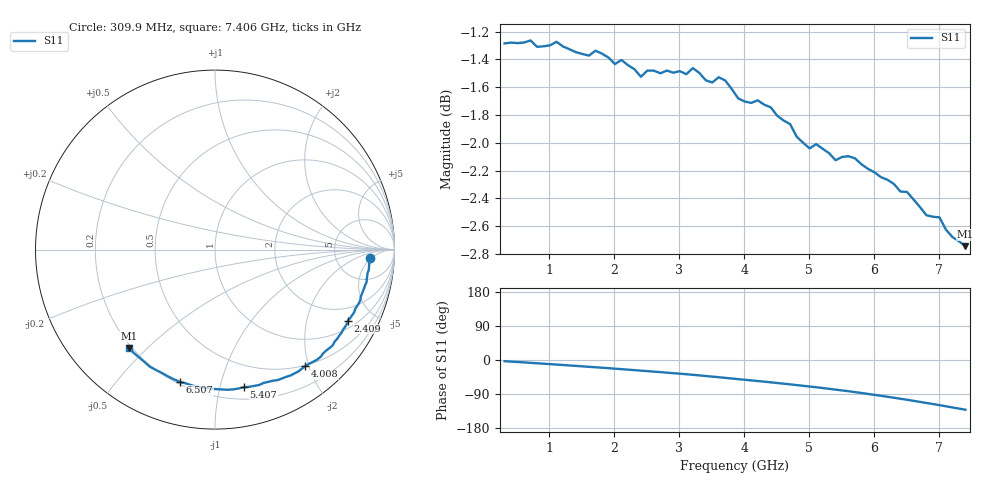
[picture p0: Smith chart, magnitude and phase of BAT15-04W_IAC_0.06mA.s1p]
! Infineon Technologies  Discrete & RF Semiconductors
! BAT15-04W-E6327
! IAC = 0.06 mA
! One-Port S-Parameters
# Hz  S  MA  R  50
!f  S11
!Hz  Mag  Ang
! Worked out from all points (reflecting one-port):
!   72 points, 309.9 MHz to 7.406 GHz, reference 50 ohm
!   lowest |S11| = -2.7 dB at 7.406 GHz (marker M1), VSWR 6.38, Z = 9.4 - j22 ohm
!   phase of S11 starts at -3 deg and turns -128 deg over the sweep
!   S11 on the Smith chart (normalised r, x): 309.9 MHz: 12, -4; 2.409 GHz: 1.32, -3.53; 4.008 GHz: 0.49, -1.95; 5.407 GHz: 0.30, -1.19; 6.507 GHz: 0.21, -0.75; 7.406 GHz: 0.19, -0.44
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3.0985e8  0.8626 -3.2
7.0965e8  0.8647 -7.5
1.2094e9  0.8604 -13.2
1.6092e9  0.8539 -18.0
1.70915e9  0.8573 -19.2
2.009e9  0.8479 -22.9
2.10895e9  0.8508 -24.1
2.4088e9  0.839 -28.1
2.50875e9  0.8434 -29.3
3.0085e9  0.8429 -36.1
3.2084e9  0.8451 -39.1
3.50825e9  0.8351 -43.9
3.6082e9  0.8387 -45.4
3.90805e9  0.8241 -50.5
4.008e9  0.822 -52.2
4.2079e9  0.8228 -55.5
4.4078e9  0.818 -59.0
4.70765e9  0.8067 -64.3
4.8076e9  0.7984 -66.2
5.10745e9  0.7934 -71.9
5.4073e9  0.7829 -78.2
5.70715e9  0.7841 -84.8
6.007e9  0.7751 -92.0
6.2069e9  0.7703 -97.0
6.50675e9  0.7626 -104.9
6.6067e9  0.7579 -107.7
7.0065e9  0.7467 -119.0
7.4063e9  0.729 -131.2
